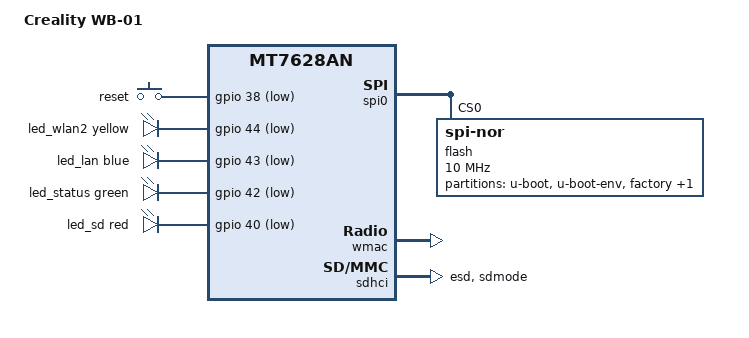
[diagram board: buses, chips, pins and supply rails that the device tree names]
// SPDX-License-Identifier: GPL-2.0-or-later OR MIT

#include "mt7628an.dtsi"

#include <dt-bindings/gpio/gpio.h>
#include <dt-bindings/input/input.h>
#include <dt-bindings/leds/common.h>

/ {
	compatible = "creality,wb-01", "mediatek,mt7628an-soc";
	model = "Creality WB-01";

	aliases {
		led-boot = &led_status;
		led-failsafe = &led_status;
		led-upgrade = &led_status;
		led-running = &led_status;
		label-mac-device = &wmac;
	};

	keys {
		compatible = "gpio-keys";

		reset {
			label = "reset";
			gpios = <&gpio 38 GPIO_ACTIVE_LOW>;
			linux,code = <KEY_RESTART>;
		};
	};

	leds {
		compatible = "gpio-leds";

		led_wlan2 {
			function = LED_FUNCTION_WLAN_2GHZ;
			color = <LED_COLOR_ID_YELLOW>;
			gpios = <&gpio 44 GPIO_ACTIVE_LOW>;
			linux,default-trigger = "phy0tpt";
		};

		led_lan {
			function = LED_FUNCTION_LAN;
			color = <LED_COLOR_ID_BLUE>;
			gpios = <&gpio 43 GPIO_ACTIVE_LOW>;
		};

		led_status: status {
			function = LED_FUNCTION_STATUS;
			color = <LED_COLOR_ID_GREEN>;
			gpios = <&gpio 42 GPIO_ACTIVE_LOW>;
		};

		led_sd {
			function = LED_FUNCTION_SD;
			color = <LED_COLOR_ID_RED>;
			gpios = <&gpio 40 GPIO_ACTIVE_LOW>;
		};
	};
};

&spi0 {
	status = "okay";

	flash@0 {
		compatible = "jedec,spi-nor";
		reg = <0>;
		spi-max-frequency = <10000000>;

		partitions {
			compatible = "fixed-partitions";
			#address-cells = <1>;
			#size-cells = <1>;

			partition@0 {
				label = "u-boot";
				reg = <0x0 0x30000>;
				read-only;
			};

			partition@30000 {
				label = "u-boot-env";
				reg = <0x30000 0x10000>;
				read-only;
			};

			factory: partition@40000 {
				compatible = "nvmem-cells";
				label = "factory";
				reg = <0x40000 0x10000>;
				#address-cells = <1>;
				#size-cells = <1>;				
				read-only;

				nvmem-layout {
					compatible = "fixed-layout";
					#address-cells = <1>;
					#size-cells = <1>;

					macaddr_factory_4: macaddr@4 {
						reg = <0x04 0x6>;
					};

					macaddr_factory_28: macaddr@28 {
						reg = <0x28 0x6>;
					};					
				};				
			};

			partition@50000 {
				compatible = "denx,uimage";
				label = "firmware";
				reg = <0x50000 0xfb0000>;
			};
		};
	};
};

&esw {
	mediatek,portmap = <0x3f>;
	mediatek,portdisable = <0x3e>;
};

&state_default {
	gpio {
		groups = "wdt", "p3led_an", "p1led_an", "p0led_an", "wled_an";
		function = "gpio";
	};
};

&wmac {
	status = "okay";

	nvmem-cells = <&macaddr_factory_4>;
	nvmem-cell-names = "macaddr";
};

&ethernet {
	nvmem-cells = <&macaddr_factory_28>;
	nvmem-cell-names = "mac-address";
};

&pinctrl {
    ephy-digital;

    sdxc_iot_mode: sdxc_iot_mode {
        esd {
            groups = "esd";
            function = "iot";
        };

        sdxc {
            groups = "sdmode";
            function = "sdxc";
        };
    };
};

&sdhci {
	status = "okay";
	pinctrl-0 = <&sdxc_iot_mode>;
	pinctrl-1 = <&sdxc_iot_mode>;
	mediatek,cd-low;
};

